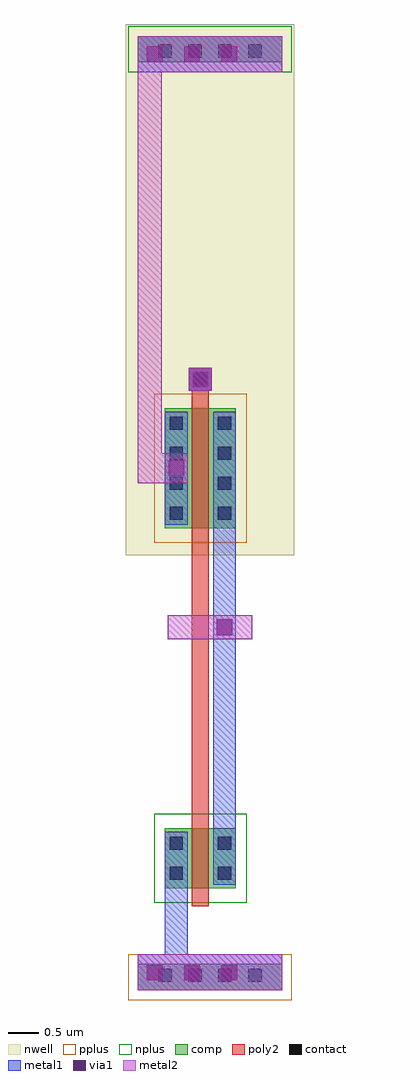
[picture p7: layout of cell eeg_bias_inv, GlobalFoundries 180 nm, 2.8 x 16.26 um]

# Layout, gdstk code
import gdstk
lib = gdstk.Library(unit=1e-6, precision=1e-09)
def R(c, l, rs):  # rectangles x0, y0, x1, y1
    for r in rs: c.add(gdstk.rectangle(r[:2], r[2:], *l))
def A(c, l, x, y, w, h, nx, ny, dx, dy):  # array of equal rectangles
    R(c, l, [(x+i*dx, y+j*dy, x+i*dx+w, y+j*dy+h) for i in range(nx) for j in range(ny)])
nwell = (21, 0)
comp = (22, 0)
poly2 = (30, 0)
pplus = (31, 0)
nplus = (32, 0)
contact = (33, 0)
metal1 = (34, 0)
via1 = (35, 0)
metal2 = (36, 0)

eeg_bias_inv = lib.new_cell('eeg_bias_inv')
R(eeg_bias_inv, nwell, [(-0.2,7.25,2.6,16.1)])
R(eeg_bias_inv, comp, [(0,0,2.4,0.44), (0.45,1.7,1.63,2.7), (0.45,7.7,1.63,9.7), (0,15.46,2.4,15.9)])
R(eeg_bias_inv, poly2, [(0.9,1.4,1.18,7.7), (0.9,7.4,1.18,10.36), (0.86,10,1.22,10.36)])
R(eeg_bias_inv, pplus, [(-0.16,-0.16,2.56,0.6), (0.27,7.46,1.81,9.94)])
R(eeg_bias_inv, nplus, [(0.27,1.46,1.81,2.94), (-0.16,15.3,2.56,16.06)])
A(eeg_bias_inv, contact, 0.34, 0.14, 0.22, 0.22, 4, 2, 0.5, 15.4)
A(eeg_bias_inv, contact, 0.53, 7.84, 0.22, 0.22, 1, 4, 0, 0.5)
A(eeg_bias_inv, contact, 1.33, 7.84, 0.22, 0.22, 1, 4, 0, 0.5)
R(eeg_bias_inv, contact, [(0.53,1.84,0.75,2.06), (1.33,1.84,1.55,2.06), (0.53,2.34,0.75,2.56), (1.33,2.34,1.55,2.56), (0.93,10.07,1.15,10.29)])
R(eeg_bias_inv, metal1, [(0,0,2.4,0.6), (0,0,2.4,0.44), (0.45,0.3,0.83,2.64), (1.25,1.76,1.63,6.25), (1.25,5.85,1.63,9.64), (0.45,7.76,0.83,9.64), (0.85,9.99,1.23,10.37), (0,15.3,2.4,15.9), (0,15.46,2.4,15.9)])
A(eeg_bias_inv, via1, 0.15, 0.17, 0.26, 0.26, 3, 2, 0.62, 15.3)
R(eeg_bias_inv, via1, [(1.31,5.92,1.57,6.18), (1.31,5.92,1.57,6.18), (0.51,8.57,0.77,8.83), (0.91,10.05,1.17,10.31)])
R(eeg_bias_inv, metal2, [(0,0,2.4,0.6), (0.5,5.85,1.9,6.25), (0,8.45,0.83,8.95), (0,8.45,0.4,15.3), (0.85,9.99,1.23,10.37), (0,15.3,2.4,15.9)])

lib.write_gds('eeg_bias_inv.gds')
